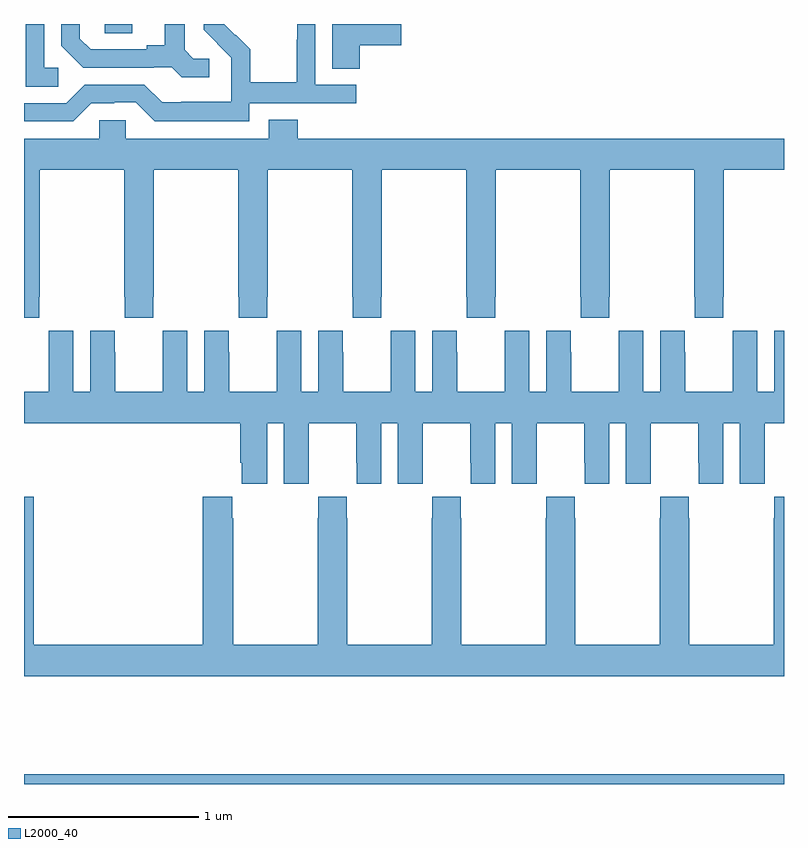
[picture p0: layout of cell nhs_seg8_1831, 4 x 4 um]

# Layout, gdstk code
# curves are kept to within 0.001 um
import gdstk
lib = gdstk.Library(unit=1e-6, precision=1e-09)
def R(c, l, rs):  # rectangles x0, y0, x1, y1
    for r in rs: c.add(gdstk.rectangle(r[:2], r[2:], *l))
def P(c, l, *ps):  # polygons
    for p in ps: c.add(gdstk.Polygon(p, *l))
L2000_40 = (2000, 40)

nhs_seg8_1831 = lib.new_cell('nhs_seg8_1831')
R(nhs_seg8_1831, L2000_40, [(227,1147.9,231,1147.952), (227.424,1151.851,227.569,1151.9)])
P(nhs_seg8_1831, L2000_40, [(227.974,1151.718),(227.892,1151.718),(227.845,1151.765),(227.845,1151.9),(227.741,1151.9),(227.741,1151.789),(227.645,1151.789),(227.645,1151.766),(227.35,1151.766),(227.293,1151.823),(227.293,1151.9),(227.196,1151.9),(227.196,1151.786),(227.312,1151.67),(227.684,1151.67),(227.684,1151.673),(227.778,1151.673),(227.83,1151.621),(227.974,1151.621)],
  [(227.179,1151.67),(227.106,1151.67),(227.106,1151.9),(227.01,1151.9),(227.01,1151.569),(227.179,1151.569)],
  [(228.186,1151.484),(228.748,1151.484),(228.748,1151.58),(228.534,1151.58),(228.534,1151.9),(228.438,1151.9),(228.438,1151.816),(228.436,1151.816),(228.436,1151.593),(228.191,1151.593),(228.191,1151.767),(228.114,1151.844),(228.111,1151.841),(228.053,1151.9),(227.946,1151.9),(227.946,1151.87),(228.092,1151.722),(228.092,1151.625),(228.09,1151.625),(228.09,1151.491),(227.827,1151.491),(227.827,1151.487),(227.727,1151.487),(227.634,1151.58),(227.319,1151.58),(227.223,1151.484),(227,1151.484),(227,1151.388),(227.259,1151.388),(227.355,1151.484),(227.474,1151.484),(227.474,1151.487),(227.589,1151.487),(227.689,1151.387),(228.186,1151.387)],
  [(228.767,1151.789),(228.985,1151.789),(228.985,1151.9),(228.623,1151.9),(228.623,1151.665),(228.767,1151.665)],
  [(227.079,1150.465),(227.082,1150.465),(227.082,1151.132),(227.527,1151.132),(227.527,1150.465),(227.529,1150.465),(227.529,1150.353),(227.679,1150.353),(227.679,1150.465),(227.682,1150.465),(227.682,1151.132),(228.127,1151.132),(228.127,1150.465),(228.129,1150.465),(228.129,1150.353),(228.279,1150.353),(228.279,1150.465),(228.282,1150.465),(228.282,1151.132),(228.727,1151.132),(228.727,1150.465),(228.729,1150.465),(228.729,1150.353),(228.879,1150.353),(228.879,1150.465),(228.882,1150.465),(228.882,1151.132),(229.327,1151.132),(229.327,1150.465),(229.329,1150.465),(229.329,1150.353),(229.479,1150.353),(229.479,1150.465),(229.482,1150.465),(229.482,1151.132),(229.927,1151.132),(229.927,1150.465),(229.929,1150.465),(229.929,1150.353),(230.079,1150.353),(230.079,1150.465),(230.082,1150.465),(230.082,1151.132),(230.527,1151.132),(230.527,1150.465),(230.529,1150.465),(230.529,1150.353),(230.679,1150.353),(230.679,1150.465),(230.682,1150.465),(230.682,1151.132),(231,1151.132),(231,1151.296),(228.44,1151.296),(228.44,1151.395),(228.287,1151.395),(228.287,1151.296),(227.535,1151.296),(227.535,1151.394),(227.397,1151.394),(227.397,1151.296),(227,1151.296),(227,1150.353),(227.079,1150.353)],
  [(228.28,1149.8),(228.368,1149.8),(228.368,1149.48),(228.498,1149.48),(228.498,1149.592),(228.499,1149.592),(228.499,1149.8),(228.749,1149.8),(228.749,1149.592),(228.75,1149.592),(228.75,1149.48),(228.88,1149.48),(228.88,1149.8),(228.968,1149.8),(228.968,1149.48),(229.098,1149.48),(229.098,1149.592),(229.099,1149.592),(229.099,1149.8),(229.349,1149.8),(229.349,1149.592),(229.35,1149.592),(229.35,1149.48),(229.48,1149.48),(229.48,1149.8),(229.568,1149.8),(229.568,1149.48),(229.698,1149.48),(229.698,1149.592),(229.699,1149.592),(229.699,1149.8),(229.949,1149.8),(229.949,1149.592),(229.95,1149.592),(229.95,1149.48),(230.08,1149.48),(230.08,1149.8),(230.168,1149.8),(230.168,1149.48),(230.298,1149.48),(230.298,1149.592),(230.299,1149.592),(230.299,1149.8),(230.549,1149.8),(230.549,1149.592),(230.55,1149.592),(230.55,1149.48),(230.68,1149.48),(230.68,1149.8),(230.768,1149.8),(230.768,1149.48),(230.898,1149.48),(230.898,1149.592),(230.899,1149.592),(230.899,1149.8),(231,1149.8),(231,1150.285),(230.948,1150.285),(230.948,1149.964),(230.86,1149.964),(230.86,1150.285),(230.73,1150.285),(230.73,1150.172),(230.729,1150.172),(230.729,1149.964),(230.479,1149.964),(230.479,1150.172),(230.478,1150.172),(230.478,1150.285),(230.348,1150.285),(230.348,1149.964),(230.26,1149.964),(230.26,1150.285),(230.13,1150.285),(230.13,1150.172),(230.129,1150.172),(230.129,1149.964),(229.879,1149.964),(229.879,1150.172),(229.878,1150.172),(229.878,1150.285),(229.748,1150.285),(229.748,1149.964),(229.66,1149.964),(229.66,1150.285),(229.53,1150.285),(229.53,1150.172),(229.529,1150.172),(229.529,1149.964),(229.279,1149.964),(229.279,1150.172),(229.278,1150.172),(229.278,1150.285),(229.148,1150.285),(229.148,1149.964),(229.06,1149.964),(229.06,1150.285),(228.93,1150.285),(228.93,1150.172),(228.929,1150.172),(228.929,1149.964),(228.679,1149.964),(228.679,1150.172),(228.678,1150.172),(228.678,1150.285),(228.548,1150.285),(228.548,1149.964),(228.46,1149.964),(228.46,1150.285),(228.33,1150.285),(228.33,1150.172),(228.329,1150.172),(228.329,1149.964),(228.079,1149.964),(228.079,1150.172),(228.078,1150.172),(228.078,1150.285),(227.948,1150.285),(227.948,1149.964),(227.86,1149.964),(227.86,1150.285),(227.73,1150.285),(227.73,1150.172),(227.729,1150.172),(227.729,1149.964),(227.479,1149.964),(227.479,1150.172),(227.478,1150.172),(227.478,1150.285),(227.348,1150.285),(227.348,1149.964),(227.26,1149.964),(227.26,1150.285),(227.13,1150.285),(227.13,1150.172),(227.129,1150.172),(227.129,1149.964),(227,1149.964),(227,1149.8),(228.137,1149.8),(228.137,1149.592),(228.146,1149.592),(228.146,1149.48),(228.28,1149.48)],
  [(231,1149.412),(230.949,1149.412),(230.949,1149.299),(230.947,1149.299),(230.947,1148.632),(230.502,1148.632),(230.502,1149.299),(230.499,1149.299),(230.499,1149.412),(230.349,1149.412),(230.349,1149.299),(230.347,1149.299),(230.347,1148.632),(229.902,1148.632),(229.902,1149.299),(229.899,1149.299),(229.899,1149.412),(229.749,1149.412),(229.749,1149.299),(229.747,1149.299),(229.747,1148.632),(229.302,1148.632),(229.302,1149.299),(229.299,1149.299),(229.299,1149.412),(229.149,1149.412),(229.149,1149.299),(229.147,1149.299),(229.147,1148.632),(228.702,1148.632),(228.702,1149.299),(228.699,1149.299),(228.699,1149.412),(228.549,1149.412),(228.549,1149.299),(228.547,1149.299),(228.547,1148.632),(228.102,1148.632),(228.102,1149.299),(228.095,1149.299),(228.095,1149.412),(227.942,1149.412),(227.942,1148.632),(227.051,1148.632),(227.051,1149.412),(227,1149.412),(227,1148.468),(231,1148.468)])

lib.write_gds('nhs_seg8_1831.gds')
